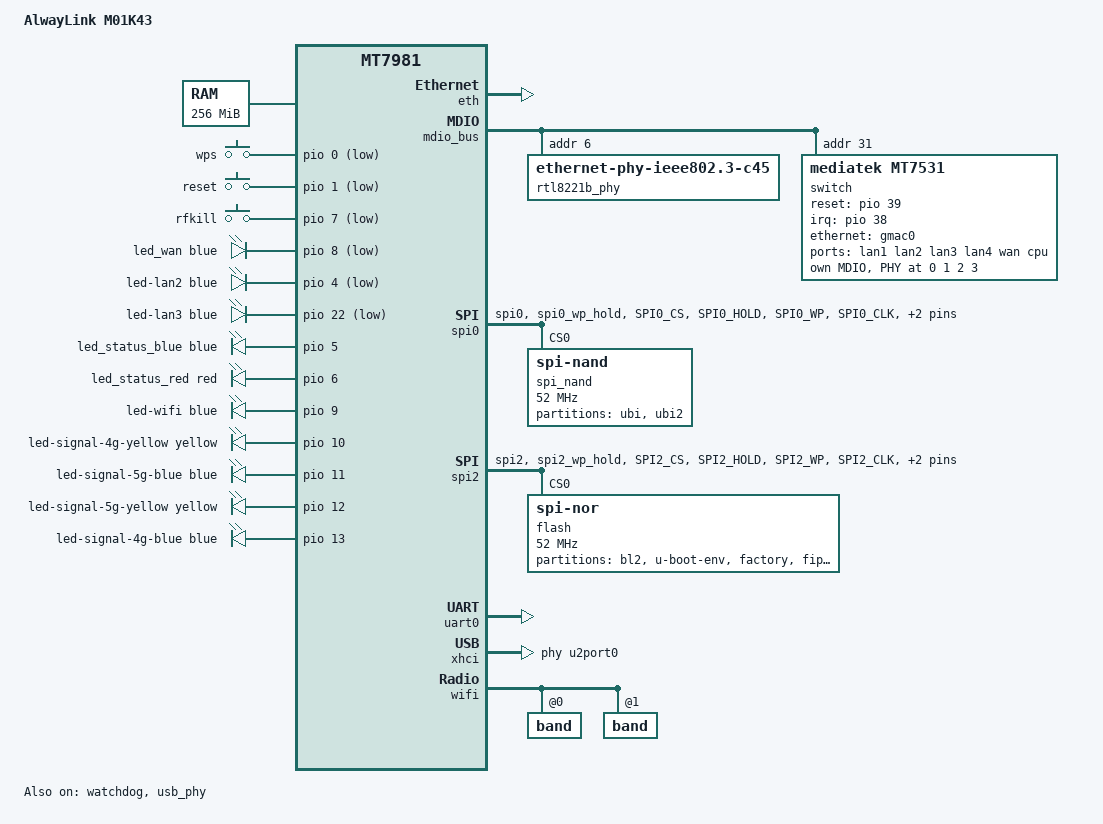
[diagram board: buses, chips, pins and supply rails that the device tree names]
// SPDX-License-Identifier: GPL-2.0-or-later OR MIT

/dts-v1/;

#include <dt-bindings/gpio/gpio.h>
#include <dt-bindings/input/input.h>
#include <dt-bindings/leds/common.h>
#include <dt-bindings/pinctrl/mt65xx.h>

#include "mt7981b.dtsi"

/ {
	model = "AlwayLink M01K43";
	compatible = "alwaylink,m01k43", "mediatek,mt7981";

	aliases {
		serial0 = &uart0;
		label-mac-device = &gmac0;
		led-boot = &led_wan;
		led-failsafe = &led_status_red;
		led-running = &led_status_blue;
		led-upgrade = &led_status_blue;
	};

	chosen {
		stdout-path = "serial0:115200n8";
	};

	memory@40000000 {
		reg = <0 0x40000000 0 0x10000000>;
		device_type = "memory";
	};

	gpio-keys {
		compatible = "gpio-keys";

		button-wps {
			label = "wps";
			linux,code = <KEY_WPS_BUTTON>;
			gpios = <&pio 0 GPIO_ACTIVE_LOW>;
			debounce-interval = <20>;
		};

		button-reset {
			label = "reset";
			linux,code = <KEY_RESTART>;
			gpios = <&pio 1 GPIO_ACTIVE_LOW>;
			debounce-interval = <20>;
		};

		button-rfkill {
			label = "rfkill";
			linux,code = <KEY_RFKILL>;
			gpios = <&pio 7 GPIO_ACTIVE_LOW>;
			debounce-interval = <20>;
		};
	};

	leds {
		compatible = "gpio-leds";

		led_wan: led-wan {
			color = <LED_COLOR_ID_BLUE>;
			function = LED_FUNCTION_WAN;
			gpios = <&pio 8 GPIO_ACTIVE_LOW>;
		};

		led-lan2 {
			color = <LED_COLOR_ID_BLUE>;
			function = LED_FUNCTION_LAN;
			function-enumerator = <2>;
			gpios = <&pio 4 GPIO_ACTIVE_LOW>;
		};

		led-lan3 {
			color = <LED_COLOR_ID_BLUE>;
			function = LED_FUNCTION_LAN;
			function-enumerator = <3>;
			gpios = <&pio 22 GPIO_ACTIVE_LOW>;
		};

		led_status_blue: led-status-blue {
			color = <LED_COLOR_ID_BLUE>;
			function = LED_FUNCTION_STATUS;
			gpios = <&pio 5 GPIO_ACTIVE_HIGH>;
		};

		led_status_red: led-status-red {
			color = <LED_COLOR_ID_RED>;
			function = LED_FUNCTION_STATUS;
			function-enumerator = <1>;
			gpios = <&pio 6 GPIO_ACTIVE_HIGH>;
		};

		led-wifi {
			color = <LED_COLOR_ID_BLUE>;
			function = LED_FUNCTION_WLAN;
			gpios = <&pio 9 GPIO_ACTIVE_HIGH>;
			linux,default-trigger = "phy0tpt";
		};

		led-signal-4g-yellow {
			color = <LED_COLOR_ID_YELLOW>;
			function = LED_FUNCTION_INDICATOR;
			function-enumerator = <0>;
			gpios = <&pio 10 GPIO_ACTIVE_HIGH>;
		};

		led-signal-5g-blue {
			color = <LED_COLOR_ID_BLUE>;
			function = LED_FUNCTION_INDICATOR;
			function-enumerator = <1>;
			gpios = <&pio 11 GPIO_ACTIVE_HIGH>;
		};

		led-signal-5g-yellow {
			color = <LED_COLOR_ID_YELLOW>;
			function = LED_FUNCTION_INDICATOR;
			function-enumerator = <2>;
			gpios = <&pio 12 GPIO_ACTIVE_HIGH>;
		};

		led-signal-4g-blue {
			color = <LED_COLOR_ID_BLUE>;
			function = LED_FUNCTION_INDICATOR;
			function-enumerator = <3>;
			gpios = <&pio 13 GPIO_ACTIVE_HIGH>;
		};
	};
};

&eth {
	status = "okay";

	gmac0: mac@0 {
		compatible = "mediatek,eth-mac";
		reg = <0>;
		phy-mode = "2500base-x";
		nvmem-cells = <&macaddr_ledeinfo_18 0>;
		nvmem-cell-names = "mac-address";

		fixed-link {
			speed = <2500>;
			full-duplex;
			pause;
		};
	};

	gmac1: mac@1 {
		compatible = "mediatek,eth-mac";
		reg = <1>;
		phy-mode = "gmii";
		phy-handle = <&int_gbe_phy>;
	};
};

&mdio_bus {
	rtl8221b_phy: ethernet-phy@6 {
		compatible = "ethernet-phy-ieee802.3-c45";
		reg = <6>;
	};

	switch: switch@1f {
		compatible = "mediatek,mt7531";
		reg = <31>;
		reset-gpios = <&pio 39 GPIO_ACTIVE_HIGH>;
		interrupt-controller;
		#interrupt-cells = <1>;
		interrupt-parent = <&pio>;
		interrupts = <38 IRQ_TYPE_LEVEL_HIGH>;

		ports {
			#address-cells = <1>;
			#size-cells = <0>;

			port@0 {
				reg = <0>;
				label = "lan1";
				phy-handle = <&swphy0>;
			};

			port@1 {
				reg = <1>;
				label = "lan2";
				phy-handle = <&swphy1>;
			};

			port@2 {
				reg = <2>;
				label = "lan3";
				phy-handle = <&swphy2>;
			};

			port@3 {
				reg = <3>;
				label = "lan4";
				phy-handle = <&swphy3>;
			};

			port@5 {
				reg = <5>;
				label = "wan";
				nvmem-cells = <&macaddr_ledeinfo_18 1>;
				nvmem-cell-names = "mac-address";
				phy-mode = "2500base-x";
				phy-handle = <&rtl8221b_phy>;
			};

			port@6 {
				reg = <6>;
				label = "cpu";
				ethernet = <&gmac0>;
				phy-mode = "2500base-x";

				fixed-link {
					speed = <2500>;
					full-duplex;
					pause;
				};
			};
		};

		mdio {
			#address-cells = <1>;
			#size-cells = <0>;

			swphy0: phy@0 {
				reg = <0>;
			};

			swphy1: phy@1 {
				reg = <1>;
			};

			swphy2: phy@2 {
				reg = <2>;
			};

			swphy3: phy@3 {
				reg = <3>;
			};

		};
	};
};

&spi0 {
	pinctrl-names = "default";
	pinctrl-0 = <&spi0_flash_pins>;
	status = "okay";

	spi_nand@0 {
		compatible = "spi-nand";
		reg = <0>;

		spi-max-frequency = <52000000>;
		spi-tx-bus-width = <4>;
		spi-rx-bus-width = <4>;

		mediatek,nmbm;
		mediatek,bmt-max-ratio = <1>;
		mediatek,bmt-max-reserved-blocks = <64>;

		partitions {
			compatible = "fixed-partitions";
			#address-cells = <1>;
			#size-cells = <1>;

			partition@0 {
				label = "ubi";
				reg = <0x0000000 0x3800000>;
			};

			partition@3800000 {
				label = "ubi2";
				reg = <0x3800000 0x3800000>;
			};
		};
	};
};

&spi2 {
	pinctrl-names = "default";
	pinctrl-0 = <&spi2_flash_pins>;
	status = "okay";

	flash@0 {
		compatible = "jedec,spi-nor";
		reg = <0>;

		spi-max-frequency = <52000000>;
		spi-tx-bus-width = <4>;
		spi-rx-bus-width = <4>;

		partitions {
			compatible = "fixed-partitions";
			#address-cells = <1>;
			#size-cells = <1>;

			partition@0 {
				label = "bl2";
				reg = <0x000000 0x040000>;
				read-only;
			};

			partition@40000 {
				label = "u-boot-env";
				reg = <0x040000 0x010000>;
			};

			partition@50000 {
				label = "factory";
				reg = <0x050000 0x0b0000>;
				read-only;

				nvmem-layout {
					compatible = "fixed-layout";
					#address-cells = <1>;
					#size-cells = <1>;

					/* WiFi EEPROM at offset 0x0, size 0x5000 */
					eeprom_factory: eeprom@0 {
						reg = <0x0 0x5000>;
					};
				};
			};

			partition@100000 {
				label = "fip";
				reg = <0x100000 0x200000>;
				read-only;
			};

			partition@300000 {
				label = "woem";
				reg = <0x300000 0x010000>;
			};

			partition@310000 {
				label = "ledeinfo";
				reg = <0x310000 0x010000>;
				read-only;

				nvmem-layout {
					compatible = "fixed-layout";
					#address-cells = <1>;
					#size-cells = <1>;

					macaddr_ledeinfo_18: macaddr@18 {
						compatible = "mac-base";
						reg = <0x18 0x6>;
						#nvmem-cell-cells = <1>;
					};
				};
			};

			partition@320000 {
				label = "nvram";
				reg = <0x320000 0x010000>;
			};
		};
	};
};

&pio {
	spi0_flash_pins: spi0-pins {
		mux {
			function = "spi";
			groups = "spi0", "spi0_wp_hold";
		};

		conf-pu {
			pins = "SPI0_CS", "SPI0_HOLD", "SPI0_WP";
			drive-strength = <MTK_DRIVE_8mA>;
			bias-pull-up = <MTK_PUPD_SET_R1R0_11>;
		};

		conf-pd {
			pins = "SPI0_CLK", "SPI0_MOSI", "SPI0_MISO";
			drive-strength = <MTK_DRIVE_8mA>;
			bias-pull-down = <MTK_PUPD_SET_R1R0_11>;
		};
	};

	spi2_flash_pins: spi2-pins {
		mux {
			function = "spi";
			groups = "spi2", "spi2_wp_hold";
		};

		conf-pu {
			pins = "SPI2_CS", "SPI2_HOLD", "SPI2_WP";
			drive-strength = <MTK_DRIVE_8mA>;
			bias-pull-up = <MTK_PUPD_SET_R1R0_11>;
		};

		conf-pd {
			pins = "SPI2_CLK", "SPI2_MOSI", "SPI2_MISO";
			drive-strength = <MTK_DRIVE_8mA>;
			bias-pull-down = <MTK_PUPD_SET_R1R0_11>;
		};
	};
};

&uart0 {
	status = "okay";
};

&watchdog {
	status = "okay";
};

&usb_phy {
	status = "okay";
};

&xhci {
	phys = <&u2port0 PHY_TYPE_USB2>;
	mediatek,u3p-dis-msk = <0x01>;
	status = "okay";
};

&wifi {
	#address-cells = <1>;
	#size-cells = <0>;
	status = "okay";
	nvmem-cells = <&eeprom_factory>;
	nvmem-cell-names = "eeprom";

	band@0 {
		reg = <0>;
		nvmem-cells = <&macaddr_ledeinfo_18 2>;
		nvmem-cell-names = "mac-address";
	};

	band@1 {
		reg = <1>;
		nvmem-cells = <&macaddr_ledeinfo_18 3>;
		nvmem-cell-names = "mac-address";
	};
};

